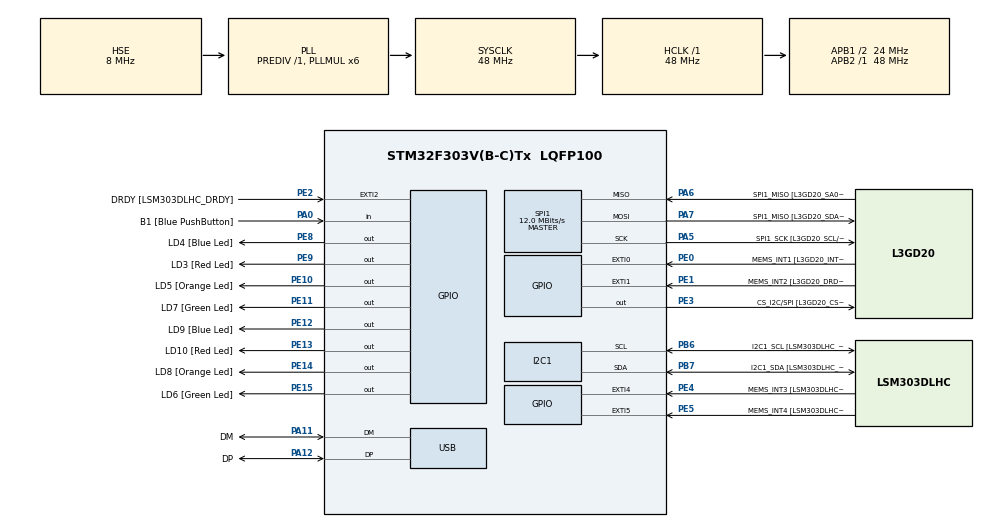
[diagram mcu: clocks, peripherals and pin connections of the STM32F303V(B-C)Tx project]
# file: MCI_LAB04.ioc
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I2C1.Timing=0x00201D2B
I2C1.Timing-I2C=0x2000090E
Mcu.Family=STM32F3
Mcu.Name=STM32F303V(B-C)Tx
Mcu.Package=LQFP100
NVIC.PriorityGroup=NVIC_PRIORITYGROUP_0
NVIC.TIM2_IRQn=true\:0\:0\:false\:false\:true\:true\:true\:true
PA0.GPIO_Label=B1 [Blue PushButton]
PA0.Signal=GPIO_Input
PA11.GPIO_Label=DM
PA11.Mode=Device
PA11.Signal=USB_DM
PA12.GPIO_Label=DP
PA12.Mode=Device
PA12.Signal=USB_DP
PA13.GPIO_Label=SWDIO
PA13.Mode=Serial_Wire
PA13.Signal=SYS_JTMS-SWDIO
PA14.GPIO_Label=SWCLK
PA14.Mode=Serial_Wire
PA14.Signal=SYS_JTCK-SWCLK
PA5.GPIO_Label=SPI1_SCK [L3GD20_SCL/SPC]
PA5.Mode=Full_Duplex_Master
PA5.Signal=SPI1_SCK
PA6.GPIO_Label=SPI1_MISO [L3GD20_SA0/SDO]
PA6.Mode=Full_Duplex_Master
PA6.Signal=SPI1_MISO
PA7.GPIO_Label=SPI1_MISO [L3GD20_SDA/SDI/SDO]
PA7.Mode=Full_Duplex_Master
PA7.Signal=SPI1_MOSI
PB3.GPIO_Label=SWO
PB3.Signal=SYS_JTDO-TRACESWO
PB6.GPIO_Label=I2C1_SCL [LSM303DLHC_SCL]
PB6.GPIO_Pu=GPIO_PULLUP
PB6.Mode=I2C
PB6.Signal=I2C1_SCL
PB7.GPIO_Label=I2C1_SDA [LSM303DLHC_SDA]
PB7.GPIO_Pu=GPIO_PULLUP
PB7.Mode=I2C
PB7.Signal=I2C1_SDA
PC14-OSC32_IN.GPIO_Label=OSC32_IN
PC14-OSC32_IN.Signal=RCC_OSC32_IN
PC15-OSC32_OUT.GPIO_Label=OSC32_OUT
PC15-OSC32_OUT.Signal=RCC_OSC32_OUT
PE0.GPIO_Label=MEMS_INT1 [L3GD20_INT1]
PE0.GPIO_ModeDefaultEXTI=GPIO_MODE_EVT_RISING
PE0.Signal=GPXTI0
PE1.GPIO_Label=MEMS_INT2 [L3GD20_DRDY/INT2]
PE1.GPIO_ModeDefaultEXTI=GPIO_MODE_EVT_RISING
PE1.Signal=GPXTI1
PE10.GPIO_Label=LD5 [Orange Led]
PE10.Signal=GPIO_Output
PE11.GPIO_Label=LD7 [Green Led]
PE11.Signal=GPIO_Output
PE12.GPIO_Label=LD9 [Blue Led]
PE12.Signal=GPIO_Output
PE13.GPIO_Label=LD10 [Red Led]
PE13.Signal=GPIO_Output
PE14.GPIO_Label=LD8 [Orange Led]
PE14.Signal=GPIO_Output
PE15.GPIO_Label=LD6 [Green Led]
PE15.Signal=GPIO_Output
PE2.GPIO_Label=DRDY [LSM303DLHC_DRDY]
PE2.GPIO_ModeDefaultEXTI=GPIO_MODE_EVT_RISING
PE2.Signal=GPXTI2
PE3.GPIO_Label=CS_I2C/SPI [L3GD20_CS_I2C/SPI]
PE3.Signal=GPIO_Output
PE4.GPIO_Label=MEMS_INT3 [LSM303DLHC_INT1]
PE4.GPIO_ModeDefaultEXTI=GPIO_MODE_EVT_RISING
PE4.Signal=GPXTI4
PE5.GPIO_Label=MEMS_INT4 [LSM303DLHC_INT2]
PE5.GPIO_ModeDefaultEXTI=GPIO_MODE_EVT_RISING
PE5.Signal=GPXTI5
PE8.GPIO_Label=LD4 [Blue Led]
PE8.Signal=GPIO_Output
PE9.GPIO_Label=LD3 [Red Led]
PE9.Signal=GPIO_Output
PF0-OSC_IN.GPIO_Label=OSC_IN
PF0-OSC_IN.Mode=HSE-External-Clock-Source
PF0-OSC_IN.Signal=RCC_OSC_IN
PF1-OSC_OUT.GPIO_Label=OSC_OUT
PF1-OSC_OUT.Signal=RCC_OSC_OUT
ProjectManager.HeapSize=0x200
ProjectManager.StackSize=0x400
ProjectManager.TargetToolchain=CMake
RCC.AHBFreq_Value=48000000
RCC.APB1CLKDivider=RCC_HCLK_DIV2
RCC.APB1Freq_Value=24000000
RCC.APB1TimFreq_Value=48000000
RCC.APB2Freq_Value=48000000
RCC.APB2TimFreq_Value=48000000
RCC.CortexFreq_Value=48000000
RCC.HCLKFreq_Value=48000000
RCC.HSE_VALUE=8000000
RCC.HSI_VALUE=8000000
RCC.LSE_VALUE=32768
RCC.PLLMUL=RCC_PLL_MUL6
RCC.SYSCLKFreq_VALUE=48000000
RCC.SYSCLKSourceVirtual=RCC_SYSCLKSOURCE_PLLCLK
RCC.USBFreq_Value=48000000
SPI1.BaudRatePrescaler=SPI_BAUDRATEPRESCALER_4
SPI1.BaudRatePrescaler-Full_Duplex_Master=SPI_BAUDRATEPRESCALER_2
SPI1.CalculateBaudRate=12.0 MBits/s
SPI1.CalculateBaudRate-Full_Duplex_Master=24.0 MBits/s
SPI1.Direction=SPI_DIRECTION_2LINES
SPI1.Mode=SPI_MODE_MASTER
SPI1.Mode-Full_Duplex_Master=SPI_MODE_MASTER
SPI1.VirtualType=VM_MASTER
TIM2.Prescaler=47999
VP_TIM2_VS_ClockSourceINT.Mode=Internal
board=STM32F3DISCOVERY

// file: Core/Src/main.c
/* USER CODE BEGIN Header */
/**
  ******************************************************************************
  * @file           : main.c
  * @brief          : Main program body
  ******************************************************************************
  * @attention
  *
  * Copyright (c) 2026 STMicroelectronics.
  * All rights reserved.
  *
  * This software is licensed under terms that can be found in the LICENSE file
  * in the root directory of this software component.
  * If no LICENSE file comes with this software, it is provided AS-IS.
  *
  ******************************************************************************
  */
/* USER CODE END Header */
#include "main.h"

I2C_HandleTypeDef hi2c1;

SPI_HandleTypeDef hspi1;

TIM_HandleTypeDef htim2;

PCD_HandleTypeDef hpcd_USB_FS;

void SystemClock_Config(void);
static void MX_GPIO_Init(void);
static void MX_I2C1_Init(void);
static void MX_SPI1_Init(void);
static void MX_TIM2_Init(void);
static void MX_USB_PCD_Init(void);

/* USER CODE BEGIN 0 */
int CountA=0,CountB=0,CountC=0;
void HAL_TIM_PeriodElapsedCallback(TIM_HandleTypeDef *htim)
{
    // int countA=0,countB=0,countC=0;
    CountA++;
    CountB++;
    CountC++;
    if (htim->Instance == TIM2)
    {
      if (CountA%100==0) {
      CountA=0;
      HAL_GPIO_TogglePin(GPIOE, LD10_Pin);}
      if (CountB%200==0) {
      CountB=0;
      HAL_GPIO_TogglePin(GPIOE, LD4_Pin);}
      if (CountC%500==0) {
      CountC=0;
      HAL_GPIO_TogglePin(GPIOE, LD6_Pin);}
    }
}

/* USER CODE END 0 */

int main(void)
{

  /* MCU Configuration--------------------------------------------------------*/

  /* Reset of all peripherals, Initializes the Flash interface and the Systick. */
  HAL_Init();

  /* Configure the system clock */
  SystemClock_Config();

  /* Initialize all configured peripherals */
  MX_GPIO_Init();
  MX_I2C1_Init();
  MX_SPI1_Init();
  MX_TIM2_Init();
  MX_USB_PCD_Init();

  /* Infinite loop */
  /* USER CODE BEGIN WHILE */
  HAL_TIM_Base_Start_IT(&htim2);
  while (1)
  {
    /* USER CODE END WHILE */

  }
}

void SystemClock_Config(void)
{
  RCC_OscInitTypeDef RCC_OscInitStruct = {0};
  RCC_ClkInitTypeDef RCC_ClkInitStruct = {0};
  RCC_PeriphCLKInitTypeDef PeriphClkInit = {0};

  /** Initializes the RCC Oscillators according to the specified parameters
  * in the RCC_OscInitTypeDef structure.
  */
  RCC_OscInitStruct.OscillatorType = RCC_OSCILLATORTYPE_HSI|RCC_OSCILLATORTYPE_HSE;
  RCC_OscInitStruct.HSEState = RCC_HSE_BYPASS;
  RCC_OscInitStruct.HSEPredivValue = RCC_HSE_PREDIV_DIV1;
  RCC_OscInitStruct.HSIState = RCC_HSI_ON;
  RCC_OscInitStruct.HSICalibrationValue = RCC_HSICALIBRATION_DEFAULT;
  RCC_OscInitStruct.PLL.PLLState = RCC_PLL_ON;
  RCC_OscInitStruct.PLL.PLLSource = RCC_PLLSOURCE_HSE;
  RCC_OscInitStruct.PLL.PLLMUL = RCC_PLL_MUL6;
  if (HAL_RCC_OscConfig(&RCC_OscInitStruct) != HAL_OK)
  {
    Error_Handler();
  }

  /** Initializes the CPU, AHB and APB buses clocks
  */
  RCC_ClkInitStruct.ClockType = RCC_CLOCKTYPE_HCLK|RCC_CLOCKTYPE_SYSCLK
                              |RCC_CLOCKTYPE_PCLK1|RCC_CLOCKTYPE_PCLK2;
  RCC_ClkInitStruct.SYSCLKSource = RCC_SYSCLKSOURCE_PLLCLK;
  RCC_ClkInitStruct.AHBCLKDivider = RCC_SYSCLK_DIV1;
  RCC_ClkInitStruct.APB1CLKDivider = RCC_HCLK_DIV2;
  RCC_ClkInitStruct.APB2CLKDivider = RCC_HCLK_DIV1;

  if (HAL_RCC_ClockConfig(&RCC_ClkInitStruct, FLASH_LATENCY_1) != HAL_OK)
  {
    Error_Handler();
  }
  PeriphClkInit.PeriphClockSelection = RCC_PERIPHCLK_USB|RCC_PERIPHCLK_I2C1;
  PeriphClkInit.I2c1ClockSelection = RCC_I2C1CLKSOURCE_HSI;
  PeriphClkInit.USBClockSelection = RCC_USBCLKSOURCE_PLL;
  if (HAL_RCCEx_PeriphCLKConfig(&PeriphClkInit) != HAL_OK)
  {
    Error_Handler();
  }
}

static void MX_I2C1_Init(void)
{

  hi2c1.Instance = I2C1;
  hi2c1.Init.Timing = 0x00201D2B;
  hi2c1.Init.OwnAddress1 = 0;
  hi2c1.Init.AddressingMode = I2C_ADDRESSINGMODE_7BIT;
  hi2c1.Init.DualAddressMode = I2C_DUALADDRESS_DISABLE;
  hi2c1.Init.OwnAddress2 = 0;
  hi2c1.Init.OwnAddress2Masks = I2C_OA2_NOMASK;
  hi2c1.Init.GeneralCallMode = I2C_GENERALCALL_DISABLE;
  hi2c1.Init.NoStretchMode = I2C_NOSTRETCH_DISABLE;
  if (HAL_I2C_Init(&hi2c1) != HAL_OK)
  {
    Error_Handler();
  }

  /** Configure Analogue filter
  */
  if (HAL_I2CEx_ConfigAnalogFilter(&hi2c1, I2C_ANALOGFILTER_ENABLE) != HAL_OK)
  {
    Error_Handler();
  }

  /** Configure Digital filter
  */
  if (HAL_I2CEx_ConfigDigitalFilter(&hi2c1, 0) != HAL_OK)
  {
    Error_Handler();
  }

}

static void MX_SPI1_Init(void)
{

  /* SPI1 parameter configuration*/
  hspi1.Instance = SPI1;
  hspi1.Init.Mode = SPI_MODE_MASTER;
  hspi1.Init.Direction = SPI_DIRECTION_2LINES;
  hspi1.Init.DataSize = SPI_DATASIZE_4BIT;
  hspi1.Init.CLKPolarity = SPI_POLARITY_LOW;
  hspi1.Init.CLKPhase = SPI_PHASE_1EDGE;
  hspi1.Init.NSS = SPI_NSS_SOFT;
  hspi1.Init.BaudRatePrescaler = SPI_BAUDRATEPRESCALER_4;
  hspi1.Init.FirstBit = SPI_FIRSTBIT_MSB;
  hspi1.Init.TIMode = SPI_TIMODE_DISABLE;
  hspi1.Init.CRCCalculation = SPI_CRCCALCULATION_DISABLE;
  hspi1.Init.CRCPolynomial = 7;
  hspi1.Init.CRCLength = SPI_CRC_LENGTH_DATASIZE;
  hspi1.Init.NSSPMode = SPI_NSS_PULSE_ENABLE;
  if (HAL_SPI_Init(&hspi1) != HAL_OK)
  {
    Error_Handler();
  }

}

static void MX_TIM2_Init(void)
{

  TIM_ClockConfigTypeDef sClockSourceConfig = {0};
  TIM_MasterConfigTypeDef sMasterConfig = {0};

  htim2.Instance = TIM2;
  htim2.Init.Prescaler = 47999;
  htim2.Init.CounterMode = TIM_COUNTERMODE_UP;
  htim2.Init.Period = 1;
  htim2.Init.ClockDivision = TIM_CLOCKDIVISION_DIV1;
  htim2.Init.AutoReloadPreload = TIM_AUTORELOAD_PRELOAD_DISABLE;
  if (HAL_TIM_Base_Init(&htim2) != HAL_OK)
  {
    Error_Handler();
  }
  sClockSourceConfig.ClockSource = TIM_CLOCKSOURCE_INTERNAL;
  if (HAL_TIM_ConfigClockSource(&htim2, &sClockSourceConfig) != HAL_OK)
  {
    Error_Handler();
  }
  sMasterConfig.MasterOutputTrigger = TIM_TRGO_RESET;
  sMasterConfig.MasterSlaveMode = TIM_MASTERSLAVEMODE_DISABLE;
  if (HAL_TIMEx_MasterConfigSynchronization(&htim2, &sMasterConfig) != HAL_OK)
  {
    Error_Handler();
  }

}

static void MX_USB_PCD_Init(void)
{

  hpcd_USB_FS.Instance = USB;
  hpcd_USB_FS.Init.dev_endpoints = 8;
  hpcd_USB_FS.Init.speed = PCD_SPEED_FULL;
  hpcd_USB_FS.Init.phy_itface = PCD_PHY_EMBEDDED;
  hpcd_USB_FS.Init.low_power_enable = DISABLE;
  hpcd_USB_FS.Init.battery_charging_enable = DISABLE;
  if (HAL_PCD_Init(&hpcd_USB_FS) != HAL_OK)
  {
    Error_Handler();
  }

}

static void MX_GPIO_Init(void)
{
  GPIO_InitTypeDef GPIO_InitStruct = {0};

  /* GPIO Ports Clock Enable */
  __HAL_RCC_GPIOE_CLK_ENABLE();
  __HAL_RCC_GPIOC_CLK_ENABLE();
  __HAL_RCC_GPIOF_CLK_ENABLE();
  __HAL_RCC_GPIOA_CLK_ENABLE();
  __HAL_RCC_GPIOB_CLK_ENABLE();

  /*Configure GPIO pin Output Level */
  HAL_GPIO_WritePin(GPIOE, CS_I2C_SPI_Pin|LD4_Pin|LD3_Pin|LD5_Pin
                          |LD7_Pin|LD9_Pin|LD10_Pin|LD8_Pin
                          |LD6_Pin, GPIO_PIN_RESET);

  /*Configure GPIO pins : DRDY_Pin MEMS_INT3_Pin MEMS_INT4_Pin MEMS_INT1_Pin
                           MEMS_INT2_Pin */
  GPIO_InitStruct.Pin = DRDY_Pin|MEMS_INT3_Pin|MEMS_INT4_Pin|MEMS_INT1_Pin
                          |MEMS_INT2_Pin;
  GPIO_InitStruct.Mode = GPIO_MODE_EVT_RISING;
  GPIO_InitStruct.Pull = GPIO_NOPULL;
  HAL_GPIO_Init(GPIOE, &GPIO_InitStruct);

  /*Configure GPIO pins : CS_I2C_SPI_Pin LD4_Pin LD3_Pin LD5_Pin
                           LD7_Pin LD9_Pin LD10_Pin LD8_Pin
                           LD6_Pin */
  GPIO_InitStruct.Pin = CS_I2C_SPI_Pin|LD4_Pin|LD3_Pin|LD5_Pin
                          |LD7_Pin|LD9_Pin|LD10_Pin|LD8_Pin
                          |LD6_Pin;
  GPIO_InitStruct.Mode = GPIO_MODE_OUTPUT_PP;
  GPIO_InitStruct.Pull = GPIO_NOPULL;
  GPIO_InitStruct.Speed = GPIO_SPEED_FREQ_LOW;
  HAL_GPIO_Init(GPIOE, &GPIO_InitStruct);

  /*Configure GPIO pin : B1_Pin */
  GPIO_InitStruct.Pin = B1_Pin;
  GPIO_InitStruct.Mode = GPIO_MODE_INPUT;
  GPIO_InitStruct.Pull = GPIO_NOPULL;
  HAL_GPIO_Init(B1_GPIO_Port, &GPIO_InitStruct);

}

void Error_Handler(void)
{
  __disable_irq();
  while (1)
  {
  }
}
